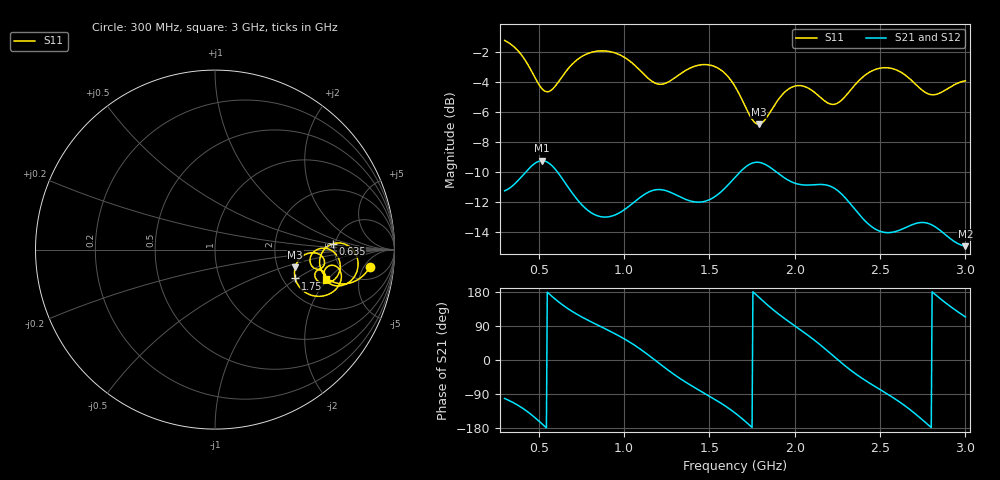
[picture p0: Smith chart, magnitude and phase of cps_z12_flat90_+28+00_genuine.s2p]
! cps_z12_flat90_+28+00_genuine
! simulated by sim/fixtures_fdtd.py (S12 = S21, S22 not computed)
# HZ S RI R 50
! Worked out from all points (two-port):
!   541 points, 300 MHz to 3 GHz, reference 50 ohm
!   highest |S21| = -9.23 dB at 520 MHz (marker M1); lowest = -14.9 dB at 3 GHz (marker M2)
!   |S21| within 3 dB of the highest: start of sweep to 758.3 MHz; 1.032 GHz to 2.336 GHz (1.303 GHz wide, 77.4 % of centre)
!   lowest |S11| = -6.8 dB at 1.79 GHz (marker M3), VSWR 2.69, Z = 125 - j31.2 ohm
!   |S11| at or under -10 dB: nowhere
!   |S22| runs from - to - dB; largest |S21 - S12| = 0
!   S11 on the Smith chart (normalised r, x): 300 MHz: 9, -7; 635 MHz: 4.75, +0.53; 1.75 GHz: 2.33, -0.97; 3 GHz: 3.43, -1.87
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3e8  0.8632 -0.0967  -0.0548 -0.2691  -0.0548 -0.2691  0 0
4.25e8  0.7145 -0.1913  -0.2182 -0.231  -0.2182 -0.231  0 0
5.2e8  0.5895 -0.1084  -0.3392 -0.0666  -0.3392 -0.0666  0 0
6.35e8  0.6552 0.0318  -0.254 0.1653  -0.254 0.1653  0 0
7.5e8  0.7667 0.00111  -0.1011 0.2259  -0.1011 0.2259  0 0
8.85e8  0.7947 -0.1064  0.026 0.223  0.026 0.223  0 0
1.025e9  0.7221 -0.1954  0.1581 0.1845  0.1581 0.1845  0 0
1.2e9  0.6072 -0.1342  0.2753 -0.0331  0.2753 -0.0331  0 0
1.4e9  0.698 -0.12  0.09 -0.2365  0.09 -0.2365  0 0
1.525e9  0.6812 -0.2121  -0.0547 -0.2552  -0.0547 -0.2552  0 0
1.65e9  0.5535 -0.2582  -0.2323 -0.1967  -0.2323 -0.1967  0 0
1.75e9  0.4469 -0.161  -0.3391 -0.012  -0.3391 -0.012  0 0
1.79e9  0.4465 -0.0988  -0.3306 0.0854  -0.3306 0.0854  0 0
1.925e9  0.5715 -0.0218  -0.1275 0.2795  -0.1275 0.2795  0 0
2.1e9  0.5831 -0.108  0.1539 0.2426  0.1539 0.2426  0 0
2.26e9  0.5409 -0.0233  0.2724 -0.0107  0.2724 -0.0107  0 0
2.38e9  0.6417 -0.000677  0.1644 -0.1582  0.1644 -0.1582  0 0
2.55e9  0.693 -0.124  -0.00622 -0.1992  -0.00622 -0.1992  0 0
2.67e9  0.623 -0.1873  -0.132 -0.1629  -0.132 -0.1629  0 0
2.78e9  0.5574 -0.1515  -0.2111 -0.0357  -0.2111 -0.0357  0 0
2.885e9  0.5844 -0.1129  -0.1702 0.0967  -0.1702 0.0967  0 0
3e9  0.6168 -0.1613  -0.0719 0.1647  -0.0719 0.1647  0 0
